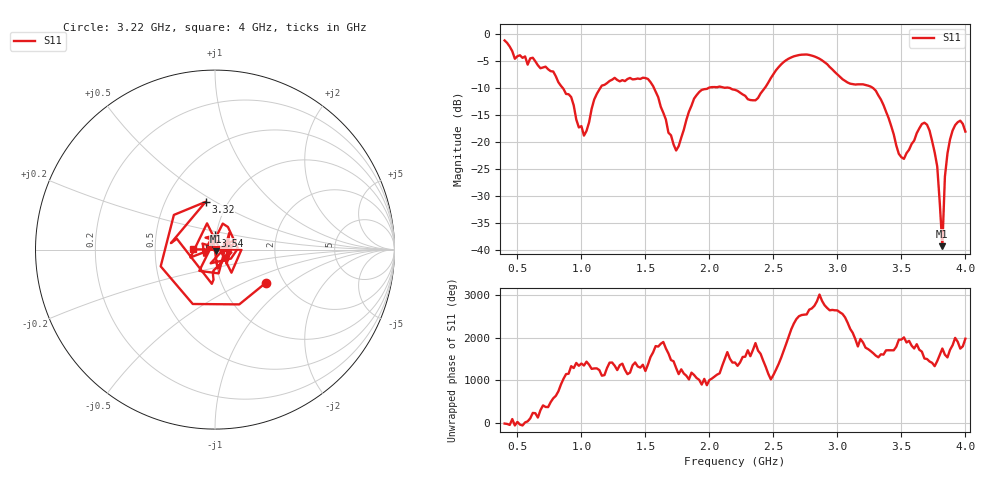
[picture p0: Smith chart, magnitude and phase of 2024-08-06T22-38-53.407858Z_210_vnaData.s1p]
!Created with skrf (http://scikit-rf.org).
# Hz S RI R 50.0
!freq ReS11 ImS11
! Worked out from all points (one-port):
!   181 points, 400 MHz to 4 GHz, reference 50 ohm
!   lowest |S11| = -39.3 dB at 3.82 GHz (marker M1), VSWR 1.02, Z = 50.7 - j0.869 ohm
!   |S11| at or under -10 dB: 855.6 MHz to 1.147 GHz (291.2 MHz wide, 29.1 % of centre); 1.568 GHz to 1.99 GHz (422 MHz wide, 23.7 % of centre); 3.28 GHz to end of sweep (the widest 3 of 4)
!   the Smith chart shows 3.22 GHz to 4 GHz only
!   S11 on the Smith chart (normalised r, x): 3.22 GHz: 1.62, -0.67; 3.32 GHz: 0.79, +0.45; 3.54 GHz: 0.99, +0.16; 4 GHz: 0.78, +0.00
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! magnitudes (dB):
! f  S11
! 400 MHz  -1.1
! 480 MHz  -4.5
! 860 MHz  -10.1
! 1.02 GHz  -18.8
! 1.16 GHz  -9.5
! 1.3 GHz  -8.7
! 1.52 GHz  -8.3
! 1.74 GHz  -21.6
! 1.76 GHz  -20.8
! 1.92 GHz  -10.7
! 2.2 GHz  -10.3
! 2.36 GHz  -12.2
! 2.66 GHz  -4.1
! 2.84 GHz  -4.3
! 3.1 GHz  -9.2
! 3.22 GHz  -9.4
! 3.32 GHz  -11.3
! 3.48 GHz  -22.2
! 3.54 GHz  -22.1
! 3.56 GHz  -21.4
! 3.66 GHz  -16.6
! 3.72 GHz  -17.9
! 3.78 GHz  -24.5
! 3.82 GHz  -39.3
! 3.84 GHz  -26.4
! 3.88 GHz  -19.5
! 3.96 GHz  -16.0
! 4 GHz  -18.1
